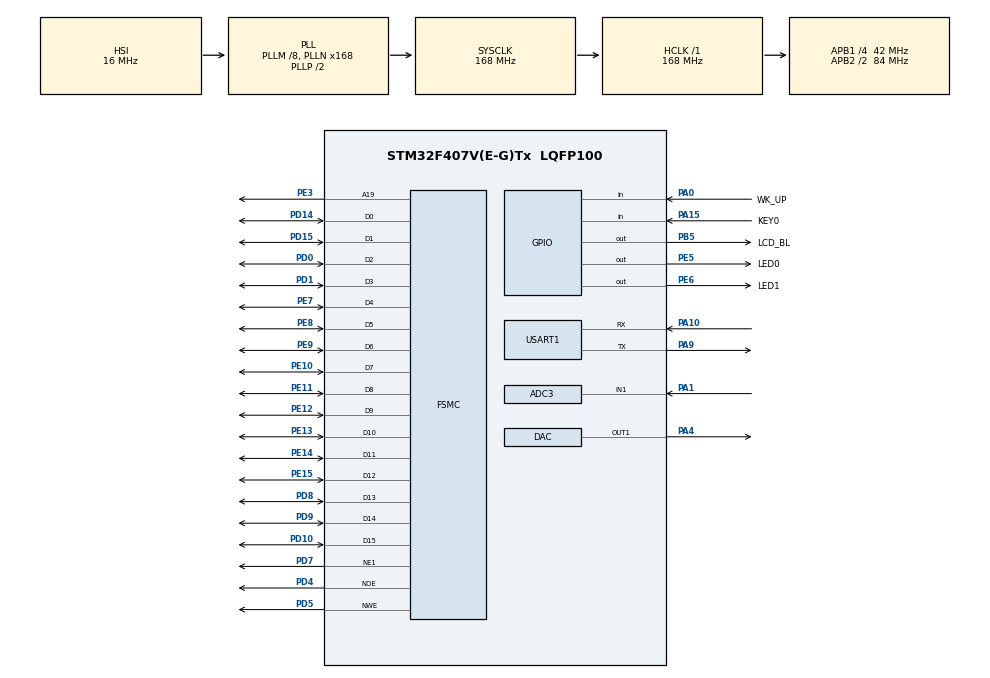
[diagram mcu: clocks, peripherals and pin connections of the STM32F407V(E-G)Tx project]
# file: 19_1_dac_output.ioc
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ADC3.Channel-0\#ChannelRegularConversion=ADC_CHANNEL_1
ADC3.ContinuousConvMode=DISABLE
ADC3.NbrOfConversionFlag=1
ADC3.Rank-0\#ChannelRegularConversion=1
ADC3.SamplingTime-0\#ChannelRegularConversion=ADC_SAMPLETIME_480CYCLES
DAC.DAC_OutputBuffer=DAC_OUTPUTBUFFER_DISABLE
FSMC.AddressSetupTime1=15
FSMC.BusTurnAroundDuration1=0
FSMC.DataSetupTime1=60
FSMC.ExtendedAddressSetupTime1=9
FSMC.ExtendedDataSetupTime1=9
FSMC.ExtendedMode1=FSMC_EXTENDED_MODE_ENABLE
Mcu.Family=STM32F4
Mcu.Name=STM32F407V(E-G)Tx
Mcu.Package=LQFP100
NVIC.PriorityGroup=NVIC_PRIORITYGROUP_2
NVIC.USART1_IRQn=true\:2\:2\:true\:false\:true\:true\:true\:true
PA0-WKUP.GPIO_Label=WK_UP
PA0-WKUP.GPIO_PuPd=GPIO_PULLDOWN
PA0-WKUP.Signal=GPIO_Input
PA1.Signal=ADCx_IN1
PA10.Mode=Asynchronous
PA10.Signal=USART1_RX
PA13.Mode=Serial_Wire
PA13.Signal=SYS_JTMS-SWDIO
PA14.Mode=Serial_Wire
PA14.Signal=SYS_JTCK-SWCLK
PA15.GPIO_Label=KEY0
PA15.GPIO_PuPd=GPIO_PULLDOWN
PA15.Signal=GPIO_Input
PA4.Signal=COMP_DAC1_group
PA9.Mode=Asynchronous
PA9.Signal=USART1_TX
PB5.GPIO_Label=LCD_BL
PB5.GPIO_PuPd=GPIO_PULLUP
PB5.GPIO_Speed=GPIO_SPEED_FREQ_HIGH
PB5.PinState=GPIO_PIN_SET
PB5.Signal=GPIO_Output
PC14-OSC32_IN.Mode=LSE-External-Oscillator
PC14-OSC32_IN.Signal=RCC_OSC32_IN
PC15-OSC32_OUT.Mode=LSE-External-Oscillator
PC15-OSC32_OUT.Signal=RCC_OSC32_OUT
PD0.Mode=16b-d1
PD0.Signal=FSMC_D2
PD1.Mode=16b-d1
PD1.Signal=FSMC_D3
PD10.Mode=16b-d1
PD10.Signal=FSMC_D15
PD14.Mode=16b-d1
PD14.Signal=FSMC_D0
PD15.Mode=16b-d1
PD15.Signal=FSMC_D1
PD4.Mode=Lcd1
PD4.Signal=FSMC_NOE
PD5.Mode=Lcd1
PD5.Signal=FSMC_NWE
PD7.Mode=NorPsramChipSelect1_1
PD7.Signal=FSMC_NE1
PD8.Mode=16b-d1
PD8.Signal=FSMC_D13
PD9.Mode=16b-d1
PD9.Signal=FSMC_D14
PE10.Mode=16b-d1
PE10.Signal=FSMC_D7
PE11.Mode=16b-d1
PE11.Signal=FSMC_D8
PE12.Mode=16b-d1
PE12.Signal=FSMC_D9
PE13.Mode=16b-d1
PE13.Signal=FSMC_D10
PE14.Mode=16b-d1
PE14.Signal=FSMC_D11
PE15.Mode=16b-d1
PE15.Signal=FSMC_D12
PE3.Mode=A19_1
PE3.Signal=FSMC_A19
PE5.GPIO_Label=LED0
PE5.GPIO_PuPd=GPIO_PULLUP
PE5.GPIO_Speed=GPIO_SPEED_FREQ_HIGH
PE5.PinState=GPIO_PIN_SET
PE5.Signal=GPIO_Output
PE6.GPIO_Label=LED1
PE6.GPIO_PuPd=GPIO_PULLUP
PE6.GPIO_Speed=GPIO_SPEED_FREQ_HIGH
PE6.PinState=GPIO_PIN_SET
PE6.Signal=GPIO_Output
PE7.Mode=16b-d1
PE7.Signal=FSMC_D4
PE8.Mode=16b-d1
PE8.Signal=FSMC_D5
PE9.Mode=16b-d1
PE9.Signal=FSMC_D6
PH0-OSC_IN.Mode=HSE-External-Oscillator
PH0-OSC_IN.Signal=RCC_OSC_IN
PH1-OSC_OUT.Mode=HSE-External-Oscillator
PH1-OSC_OUT.Signal=RCC_OSC_OUT
ProjectManager.HeapSize=0x200
ProjectManager.StackSize=0x400
ProjectManager.TargetToolchain=STM32CubeIDE
RCC.48MHZClocksFreq_Value=84000000
RCC.AHBFreq_Value=168000000
RCC.APB1CLKDivider=RCC_HCLK_DIV4
RCC.APB1Freq_Value=42000000
RCC.APB1TimFreq_Value=84000000
RCC.APB2CLKDivider=RCC_HCLK_DIV2
RCC.APB2Freq_Value=84000000
RCC.APB2TimFreq_Value=168000000
RCC.CortexFreq_Value=168000000
RCC.HCLKFreq_Value=168000000
RCC.HSE_VALUE=25000000
RCC.HSI_VALUE=16000000
RCC.PLLM=8
RCC.PLLN=168
RCC.SYSCLKFreq_VALUE=168000000
RCC.SYSCLKSource=RCC_SYSCLKSOURCE_PLLCLK
RCC.VCOOutputFreq_Value=336000000
SH.ADCx_IN1.0=ADC3_IN1,IN1
SH.COMP_DAC1_group.0=DAC_OUT1,DAC_OUT1
USART1.VirtualMode=VM_ASYNC
board=custom

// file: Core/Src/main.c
/**
 ****************************************************************************************************
 * @file        main.c
 * @author      ALIENTEK
 * @brief       dac_output code
 * @license     Copyright (C) 2012-2024, ALIENTEK
 ****************************************************************************************************
 * @attention
 *
 * platform     : ALIENTEK M100-STM32F407 board
 * website      : www.alientek.com
 * forum        : www.openedv.com/forum.php
 *
 * change logs  :
 * version      data         notes
 * V1.0         20240409     the first version
 *
 ****************************************************************************************************
 */

/* USER CODE BEGIN Header */

/* USER CODE END Header */
#include "main.h"
#include "adc.h"
#include "dac.h"
#include "usart.h"
#include "gpio.h"
#include "fsmc.h"

/* USER CODE BEGIN Includes */
#include "../../BSP/LED/led.h"
#include "../../BSP/KEY/key.h"
#include "../../BSP/LCD/lcd.h"
/* USER CODE END Includes */

/* USER CODE BEGIN PD */
/**
 * @brief   Displays information about the experiment
 * @param   None
 * @retval  None
 */
void stm32f407vg_show_mesg(void)
{
	/* The serial port outputs the experimental information */
	printf("\n");
	printf("********************************\r\n");
	printf("STM32F407\r\n");
	printf("DAC Output Test\r\n");
	printf("ATOM@ALIENTEK\r\n");
	printf("********************************\r\n");
	printf("\r\n");
}
/* USER CODE END PD */

void SystemClock_Config(void);

int main(void)
{
  /* USER CODE BEGIN 1 */
  uint8_t t = 0;
  uint8_t key;
  uint16_t dac_value;
  uint16_t dac_voltage = 100;
  uint16_t adc_value;
  uint16_t adc_voltage;
  /* USER CODE END 1 */

  /* MCU Configuration--------------------------------------------------------*/

  /* Reset of all peripherals, Initializes the Flash interface and the Systick. */
  HAL_Init();

  /* Configure the system clock */
  SystemClock_Config();

  /* Initialize all configured peripherals */
  MX_GPIO_Init();
  MX_USART1_UART_Init();
  MX_FSMC_Init();
  MX_ADC3_Init();
  MX_DAC_Init();
  /* USER CODE BEGIN 2 */
  lcd_init();                                         /* Initialize LCD */
  stm32f407vg_show_mesg();
  lcd_show_string(30, 50, 200, 16, 16, "STM32", RED);
  lcd_show_string(30, 70, 200, 16, 16, "DAC TEST", RED);
  lcd_show_string(30, 90, 200, 16, 16, "ATOM@ALIENTEK", RED);

  lcd_show_string(30, 110, 200, 16, 16, "WK_UP:+ KEY0:-", RED);

  lcd_show_string(30, 130, 200, 16, 16, "DAC_CH1 VAL:", BLUE);
  lcd_show_string(30, 150, 200, 16, 16, "DAC_CH1_VOL:0.000V", BLUE);
  lcd_show_string(30, 170, 200, 16, 16, "ADC3_CH1_VOL:0.000V", BLUE);
  /* USER CODE END 2 */

  /* Infinite loop */
  /* USER CODE BEGIN WHILE */
  while (1)
  {
	  t++;
	  key = key_scan(0);         /* Scan key */

	  if (key == WKUP_PRES)      /* When the WK_UP button is pressed, the DAC output is increased by 100 */
	  {
	  	 if (dac_voltage < 3300)
	  	 {
	  	  	 dac_voltage += 100;
	  	  	 dac_set_voltage(dac_voltage);
	  	 }
	  }
	  else if (key == KEY0_PRES) /* KEY0 key press reduces DAC output by 100 */
	  {
	  	 if (dac_voltage > 100)
	  	 {
	  	  	 dac_voltage -= 100;
	  	  	 dac_set_voltage(dac_voltage);
	  	 }
	  }

	  if ((t == 10) || (key == WKUP_PRES) || (key == KEY0_PRES))
	  {
	  	 dac_value = HAL_DAC_GetValue(&hdac, DAC_CHANNEL_1);   /* Get the digital quantity of the DAC output voltage */
	  	 lcd_show_xnum(126, 130, dac_value, 4, 16, 0, BLUE);    /* Display the digital amount of DAC output voltage */

	  	 lcd_show_xnum(126, 150, dac_voltage / 1000, 1, 16, 0, BLUE);
	  	 lcd_show_xnum(142, 150, (int)dac_voltage % 1000, 3, 16, 0x80, BLUE);

	  	 adc_value = adc_get_result_average(10);                  /* Get the digital amount of the voltage collected by the ADC */
	  	 adc_voltage = (adc_value * 3300) / 4096;                 /* Calculate the actual voltage value (1000 times larger) */
	  	 lcd_show_xnum(134, 170, adc_voltage / 1000, 1, 16, 0, BLUE);
	  	 lcd_show_xnum(150, 170, (int)adc_voltage % 1000, 3, 16, 0x80, BLUE);

	  	 LED0_TOGGLE();    /* flashing LED0 indicates that the system is running */
	  	 t = 0;
	  }

	  HAL_Delay(10);     /* delay 1000ms */
    /* USER CODE END WHILE */

  }
}

void SystemClock_Config(void)
{
  RCC_OscInitTypeDef RCC_OscInitStruct = {0};
  RCC_ClkInitTypeDef RCC_ClkInitStruct = {0};

  /** Configure the main internal regulator output voltage
  */
  __HAL_RCC_PWR_CLK_ENABLE();
  __HAL_PWR_VOLTAGESCALING_CONFIG(PWR_REGULATOR_VOLTAGE_SCALE1);

  /** Initializes the RCC Oscillators according to the specified parameters
  * in the RCC_OscInitTypeDef structure.
  */
  RCC_OscInitStruct.OscillatorType = RCC_OSCILLATORTYPE_HSI;
  RCC_OscInitStruct.HSIState = RCC_HSI_ON;
  RCC_OscInitStruct.HSICalibrationValue = RCC_HSICALIBRATION_DEFAULT;
  RCC_OscInitStruct.PLL.PLLState = RCC_PLL_ON;
  RCC_OscInitStruct.PLL.PLLSource = RCC_PLLSOURCE_HSI;
  RCC_OscInitStruct.PLL.PLLM = 8;
  RCC_OscInitStruct.PLL.PLLN = 168;
  RCC_OscInitStruct.PLL.PLLP = RCC_PLLP_DIV2;
  RCC_OscInitStruct.PLL.PLLQ = 4;
  if (HAL_RCC_OscConfig(&RCC_OscInitStruct) != HAL_OK)
  {
    Error_Handler();
  }

  /** Initializes the CPU, AHB and APB buses clocks
  */
  RCC_ClkInitStruct.ClockType = RCC_CLOCKTYPE_HCLK|RCC_CLOCKTYPE_SYSCLK
                              |RCC_CLOCKTYPE_PCLK1|RCC_CLOCKTYPE_PCLK2;
  RCC_ClkInitStruct.SYSCLKSource = RCC_SYSCLKSOURCE_PLLCLK;
  RCC_ClkInitStruct.AHBCLKDivider = RCC_SYSCLK_DIV1;
  RCC_ClkInitStruct.APB1CLKDivider = RCC_HCLK_DIV4;
  RCC_ClkInitStruct.APB2CLKDivider = RCC_HCLK_DIV2;

  if (HAL_RCC_ClockConfig(&RCC_ClkInitStruct, FLASH_LATENCY_5) != HAL_OK)
  {
    Error_Handler();
  }
}

void Error_Handler(void)
{
  __disable_irq();
  while (1)
  {
  }
}
